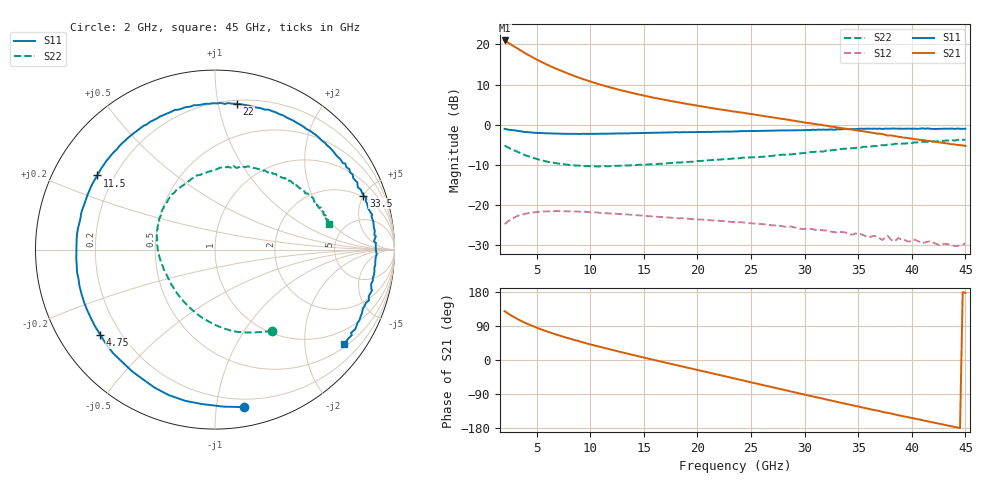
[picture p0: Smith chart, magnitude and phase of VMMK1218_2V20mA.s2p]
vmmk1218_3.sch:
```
<Qucs Schematic 0.0.18>
<Properties>
  <View=-249,-345,1169,939,1,458,0>
  <Grid=10,10,1>
  <DataSet=vmmk1218_3.dat>
  <DataDisplay=vmmk1218_3.dpl>
  <OpenDisplay=1>
  <Script=vmmk1218_3.m>
  <RunScript=0>
  <showFrame=0>
  <FrameText0=Title>
  <FrameText1=Drawn By:>
  <FrameText2=Date:>
  <FrameText3=Revision:>
</Properties>
<Symbol>
</Symbol>
<Components>
  <SPfile X1 1 350 120 -26 -53 0 0 "VMMK1218_2V20mA.s2p" 1 "rectangular" 0 "linear" 0 "open" 0 "2" 0>
  <MVIA MS4 1 300 300 -123 0 1 2 "RO4350_1" 1 "0.254 mm" 1 "26.85" 0>
  <MVIA MS1 1 300 210 -123 0 1 2 "RO4350_1" 1 "0.254 mm" 1 "26.85" 0>
  <TLIN Line2 1 350 270 20 -26 0 1 "60 Ohm" 1 "0.636 mm" 1 "0 dB" 0 "26.85" 0>
  <MVIA MS6 1 540 210 20 0 0 0 "RO4350_1" 1 "0.254 mm" 1 "26.85" 0>
  <MVIA MS8 1 540 300 20 0 0 0 "RO4350_1" 1 "0.254 mm" 1 "26.85" 0>
  <TLIN Line1 1 350 180 20 -26 0 1 "60 Ohm" 1 "0.317 mm" 1 "0 dB" 0 "26.85" 0>
  <TLIN Line5 1 220 50 -86 -26 1 1 "50 Ohm" 1 "2.57 mm" 1 "0 dB" 0 "26.85" 0>
  <TLIN Line6 1 270 120 -26 -68 0 2 "50 Ohm" 1 "2.7 mm" 1 "0 dB" 0 "26.85" 0>
  <TLIN Line7 1 490 120 -26 -68 0 2 "50 Ohm" 1 "4 mm" 1 "0 dB" 0 "26.85" 0>
  <TLIN Line8 1 550 50 20 -26 1 3 "50 Ohm" 1 "2.85 mm" 1 "0 dB" 0 "26.85" 0>
  <Pac P2 1 950 150 18 -26 0 1 "2" 1 "50 Ohm" 1 "0 dBm" 0 "1 GHz" 0 "26.85" 0>
  <GND * 1 950 170 0 0 0 0>
  <TLIN Line14 1 780 120 -26 20 0 0 "50 Ohm" 1 "1 mm" 1 "0 dB" 0 "26.85" 0>
  <C C1 1 890 120 -26 17 0 0 "1 pF" 1 "" 0 "neutral" 0>
  <TLIN Line13 1 610 120 -26 20 0 0 "50 Ohm" 1 "1 mm" 1 "0 dB" 0 "26.85" 0>
  <TLIN Line10 1 860 0 -26 -68 0 2 "50 Ohm" 1 "6.83 mm" 1 "0 dB" 0 "26.85" 0>
  <TLIN Line16 1 70 120 -26 20 0 0 "50 Ohm" 1 "1 mm" 1 "0 dB" 0 "26.85" 0>
  <TLIN Line15 1 190 120 -26 20 0 0 "50 Ohm" 1 "1 mm" 1 "0 dB" 0 "26.85" 0>
  <GND * 1 -50 180 0 0 0 0>
  <Pac P1 1 -50 150 -79 -26 1 1 "1" 1 "50 Ohm" 1 "0 dBm" 0 "1 GHz" 0 "26.85" 0>
  <GND * 1 40 -200 0 0 0 2>
  <R R2 1 40 -80 15 -26 0 1 "50 Ohm" 1 "26.85" 0 "0.0" 0 "0.0" 0 "26.85" 0 "european" 0>
  <C C3 1 10 120 -26 17 0 0 "3pF" 1 "" 0 "neutral" 0>
  <C C5 1 40 -170 17 -26 0 1 "100 pF" 1 "" 0 "neutral" 0>
  <TLIN Line12 1 100 0 -26 -68 0 2 "50 Ohm" 1 "6.83 mm" 1 "0 dB" 0 "26.85" 0>
  <R R6 1 180 -130 -26 -47 1 0 "2450 Ohm" 1 "26.85" 0 "0.0" 0 "0.0" 0 "26.85" 0 "european" 0>
  <R R5 1 -40 -130 -26 -47 1 0 "550 Ohm" 1 "26.85" 0 "0.0" 0 "0.0" 0 "26.85" 0 "european" 0>
  <GND * 1 -70 -130 0 0 0 3>
  <GND * 1 210 -130 0 0 0 1>
  <TLIN Line17 1 810 50 -86 -26 0 3 "50 Ohm" 1 "6.83 mm" 1 "0 dB" 0 "26.85" 0>
  <TLIN Line18 1 40 50 -86 -26 0 3 "50 Ohm" 1 "6.83 mm" 1 "0 dB" 0 "26.85" 0>
  <TLIN Line3 1 490 180 20 -26 1 3 "60 Ohm" 0 "0.317 mm" 0 "0 dB" 0 "26.85" 0>
  <TLIN Line4 1 490 270 20 -26 0 1 "60 Ohm" 0 "0.636 mm" 0 "0 dB" 0 "26.85" 0>
  <R R3 1 700 120 -26 15 0 0 "0 Ohm" 1 "26.85" 0 "0.0" 0 "0.0" 0 "26.85" 0 "european" 0>
  <R R4 1 130 120 -26 15 0 0 "0 Ohm" 1 "26.85" 0 "0.0" 0 "0.0" 0 "26.85" 0 "european" 0>
  <.SP SP3 1 -50 360 0 63 0 0 "lin" 1 "1GHz" 1 "18GHz" 1 "52" 1 "yes" 0 "1" 0 "2" 0 "no" 0 "no" 0>
  <Eqn Eqn1 1 160 380 -28 15 0 0 "K=Rollet(S)" 1 "S11db=dB(S[1,1])" 1 "S21db=dB(S[2,1])" 1 "S22db=dB(S[2,2])" 1 "Fmindb=w2dbm(Fmin)-30" 1 "Fdb=w2dbm(F)-30" 1 "yes" 0>
  <.SP SP2 0 310 370 0 63 0 0 "const" 1 "0.03 GHz" 0 "12 GHz" 0 "[11GHz]" 1 "yes" 0 "1" 0 "2" 0 "no" 0 "no" 0>
  <Eqn Eqn2 1 510 380 -28 15 0 0 "GA=GaCircle(S,linspace(1,20,20))" 1 "GP=GpCircle(S,linspace(1,20,20))" 1 "SL=StabCircleL(S)" 1 "SG=StabCircleS(S)" 1 "NF=NoiseCircle(Sopt,Fmin,Rn,[Fmin,1.2, 1.25, 1.3,1.4,1.5])" 1 "yes" 0>
  <SUBST RO4350_1 1 830 270 -30 24 0 0 "3.48" 1 "0.254 mm" 1 "35 um" 1 "0.004" 1 "0.022e-6" 1 "1.4e-6" 1>
  <GND * 1 810 -180 0 0 0 2>
  <C C4 1 810 -150 17 -26 0 1 "1nF" 1 "" 0 "neutral" 0>
  <R R1 1 810 -90 15 -26 0 1 "10 Ohm" 1 "26.85" 0 "0.0" 0 "0.0" 0 "26.85" 0 "european" 0>
</Components>
<Wires>
  <320 210 350 210 "" 0 0 0 "">
  <350 210 350 240 "" 0 0 0 "">
  <320 300 350 300 "" 0 0 0 "">
  <350 150 490 150 "" 0 0 0 "">
  <490 210 520 210 "" 0 0 0 "">
  <490 210 490 240 "" 0 0 0 "">
  <490 300 520 300 "" 0 0 0 "">
  <220 80 220 120 "" 0 0 0 "">
  <220 120 240 120 "" 0 0 0 "">
  <300 120 320 120 "" 0 0 0 "">
  <380 120 460 120 "" 0 0 0 "">
  <520 120 550 120 "" 0 0 0 "">
  <550 80 550 120 "" 0 0 0 "">
  <550 120 580 120 "" 0 0 0 "">
  <950 170 950 180 "" 0 0 0 "">
  <920 120 950 120 "" 0 0 0 "">
  <810 120 860 120 "" 0 0 0 "">
  <730 120 750 120 "" 0 0 0 "">
  <640 120 670 120 "" 0 0 0 "">
  <810 -60 810 0 "" 0 0 0 "">
  <810 0 830 0 "" 0 0 0 "">
  <810 0 810 20 "" 0 0 0 "">
  <810 80 810 120 "" 0 0 0 "">
  <-50 120 -20 120 "" 0 0 0 "">
  <40 80 40 120 "" 0 0 0 "">
  <40 0 40 20 "" 0 0 0 "">
  <40 0 70 0 "" 0 0 0 "">
  <40 -140 40 -130 "" 0 0 0 "">
  <40 -50 40 0 "" 0 0 0 "">
  <40 -130 40 -110 "" 0 0 0 "">
  <40 -130 150 -130 "" 0 0 0 "">
  <-10 -130 40 -130 "" 0 0 0 "">
</Wires>
<Diagrams>
</Diagrams>
<Paintings>
  <Text 480 530 12 #ff0000 0 "Deactivate, if simulation other than\nSP2 is used">
  <Text 280 -180 14 #000000 0 "Stage-1 as Small Signal Amp with All For 50Ω">
</Paintings>
```
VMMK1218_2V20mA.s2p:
!Mon 10/Sep/2007 11:11:59
!Comment:  300um GSG cal using PCB - TRL cal standard, VMMK1218
! Vd(V)  IVd(mA)  Vg(V)  IVg(mA)
!2  20.29  0.5799  0
!Freq(GHZ)  S11(mag)  S11(ang)  S21(mag)  S21(ang)  S12(mag)  S12(ang)  S22(mag)  S22(ang)
#  GHZ  S  MA  R  50
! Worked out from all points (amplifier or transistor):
!   173 points, 2 GHz to 45 GHz, reference 50 ohm
!   highest |S21| = 21.0 dB at 2 GHz (marker M1)
!   |S21| within 3 dB of that: start of sweep to 3.814 GHz
!   unconditionally stable (mu >= 1): 18.24 GHz to 18.38 GHz; 18.78 GHz to end of sweep
!   at 9 GHz: K = 0.50, MSG = 16.6 dB, |S12| = -21.6 dB
!   at 23.5 GHz: K = 1.26, MAG = 10.7 dB, |S12| = -24.2 dB
!   at 45 GHz: K = 2.60, MAG = 5.1 dB, |S12| = -29.4 dB
!   lowest NFmin = 0.17 dB at 2 GHz
!   S11 on the Smith chart (normalised r, x): 2 GHz: 0.14, -1.19; 4.75 GHz: 0.13, -0.33; 11.5 GHz: 0.14, +0.28; 22 GHz: 0.23, +1.13; 33.5 GHz: 1.88, +4.99; 45 GHz: 0.57, -2.97
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2  0.8921 -79.6  11.22 128.9  0.058 43.8  0.5531 -54.9
3.25  0.8395 -113.6  8.83 107.5  0.0739 25.0  0.4596 -79.0
4.75  0.7965 -143.3  6.753 87.9  0.0815 9.3  0.3844 -101.3
6  0.7836 -161.7  5.574 74.8  0.0837 -0.7  0.3476 -115.6
7.5  0.7725 -179.1  4.564 61.1  0.0841 -10.9  0.3238 -130.1
11.5  0.776 147.8  3.016 30.4  0.0793 -31.4  0.3055 -160.7
16.25  0.7987 116.8  2.132 -1.9  0.0717 -51.0  0.3244 172.1
22  0.8216 81.6  1.565 -39.2  0.064 -73.0  0.3681 141.0
23.5  0.828 72.2  1.457 -49.1  0.0618 -79.0  0.3819 132.3
33.5  0.8794 20.0  0.9084 -113.5  0.0464 -126.1  0.5012 67.0
45  0.893 -36.1  0.5464 177.1  0.0337 158.3  0.6512 12.7
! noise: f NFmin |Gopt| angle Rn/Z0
2  0.17  0.727  30.9  0.1
3  0.24  0.624  46.2  0.1
5  0.38  0.457  75.8  0.08
7  0.51  0.344  104.1  0.07
8  0.58  0.307  117.8  0.07
10  0.72  0.273  144.3  0.06
12  0.85  0.292  169.6  0.06
13  0.92  0.322  -178.2  0.06
15  1.05  0.421  -154.8  0.06
17  1.19  0.573  -132.6  0.08
